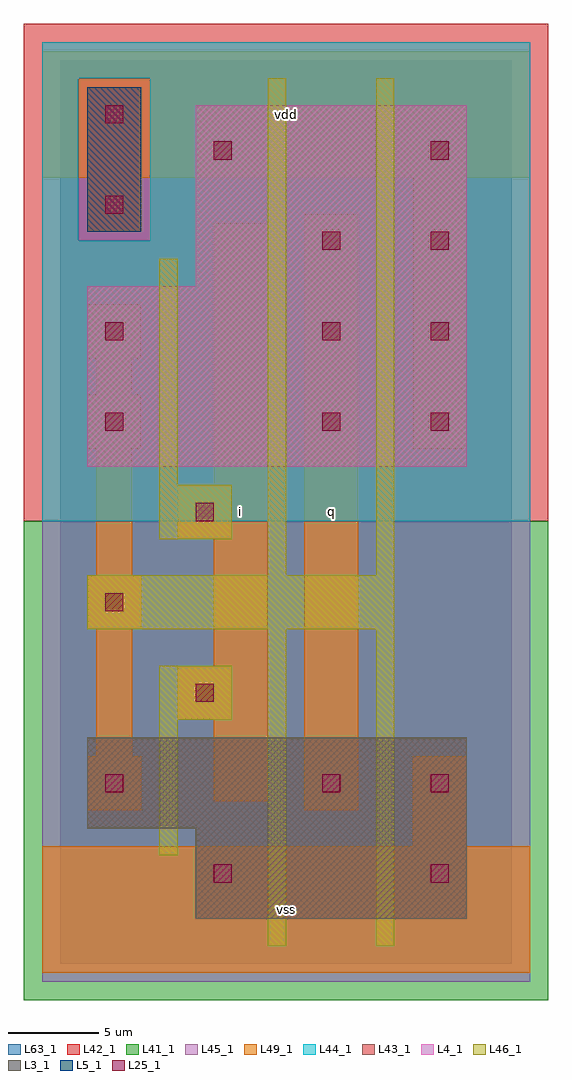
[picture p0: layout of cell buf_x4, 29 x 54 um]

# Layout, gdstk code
import gdstk
lib = gdstk.Library(unit=1e-6, precision=1e-09)
def R(c, l, rs):  # rectangles x0, y0, x1, y1
    for r in rs: c.add(gdstk.rectangle(r[:2], r[2:], *l))
def A(c, l, x, y, w, h, nx, ny, dx, dy):  # array of equal rectangles
    R(c, l, [(x+i*dx, y+j*dy, x+i*dx+w, y+j*dy+h) for i in range(nx) for j in range(ny)])
L3_1 = (3, 1)
L4_1 = (4, 1)
L5_1 = (5, 1)
L25_1 = (25, 1)
L41_1 = (41, 1)
L42_1 = (42, 1)
L43_1 = (43, 1)
L44_1 = (44, 1)
L45_1 = (45, 1)
L46_1 = (46, 1)
L49_1 = (49, 1)
L63_1 = (63, 1)

buf_x4 = lib.new_cell('buf_x4')
R(buf_x4, L3_1, [(7.5,2.5,22.5,7.5), (1.5,7.5,22.5,12.5)])
R(buf_x4, L4_1, [(1.5,27.5,22.5,37.5), (7.5,37.5,22.5,47.5)])
R(buf_x4, L5_1, [(1.5,40.5,4.5,48.5)])
A(buf_x4, L25_1, 2.5, 9.5, 1, 1, 1, 3, 0, 10)
A(buf_x4, L25_1, 14.5, 29.5, 1, 1, 1, 3, 0, 5)
A(buf_x4, L25_1, 20.5, 29.5, 1, 1, 1, 4, 0, 5)
R(buf_x4, L25_1, [(8.5,4.5,9.5,5.5), (20.5,4.5,21.5,5.5), (14.5,9.5,15.5,10.5), (20.5,9.5,21.5,10.5), (7.5,14.5,8.5,15.5), (7.5,24.5,8.5,25.5), (2.5,34.5,3.5,35.5), (2.5,41.5,3.5,42.5), (8.5,44.5,9.5,45.5), (2.5,46.5,3.5,47.5)])
R(buf_x4, L41_1, [(-2,-2,27,24.5)])
R(buf_x4, L42_1, [(-2,24.5,27,52)])
R(buf_x4, L43_1, [(7.5,2.5,22.5,7.5), (1.5,7.5,22.5,12.5), (1.5,27.5,22.5,37.5), (7.5,37.5,22.5,47.5), (1.5,40.5,4.5,48.5)])
R(buf_x4, L44_1, [(-1,24.5,26,40), (-1,40,1,49), (5,40,26,49), (-1,49,26,51)])
R(buf_x4, L45_1, [(-1,-1,26,24.5), (1,40,5,49)])
R(buf_x4, L46_1, [(11.5,1,12.5,18.5), (17.5,1,18.5,18.5), (5.5,6,6.5,13.5), (5.5,13.5,9.5,16.5), (1.5,18.5,18.5,21.5), (11.5,21.5,12.5,49), (17.5,21.5,18.5,49), (5.5,23.5,9.5,26.5), (5.5,26.5,6.5,39)])
A(buf_x4, L49_1, 1.5, 8.5, 3, 3, 1, 3, 0, 10)
R(buf_x4, L49_1, [(-1,-0.5,26,6.5), (19.5,6.5,22.5,11.5), (13.5,8.5,16.5,41.5), (8.5,9,11.5,13.5), (2,11.5,4,18.5), (6.5,13.5,11.5,16.5), (8.5,16.5,11.5,23.5), (2,21.5,4,28.5), (6.5,23.5,11.5,26.5), (8.5,26.5,11.5,41), (19.5,28.5,22.5,43.5), (2,31.5,4,33.5), (1.5,33.5,4.5,36.5), (1.5,40.5,4.5,43.5), (-1,43.5,26,50.5)])
R(buf_x4, L63_1, [(0,0,25,50)])
buf_x4.add(gdstk.Label('i', (10,25), layer=49, texttype=1))
buf_x4.add(gdstk.Label('i', (10,25), layer=49, texttype=1))
buf_x4.add(gdstk.Label('vss', (12.5,3), layer=49, texttype=1))
buf_x4.add(gdstk.Label('vss', (12.5,3), layer=49, texttype=1))
buf_x4.add(gdstk.Label('q', (15,25), layer=49, texttype=1))
buf_x4.add(gdstk.Label('q', (15,25), layer=49, texttype=1))
buf_x4.add(gdstk.Label('vdd', (12.5,47), layer=49, texttype=1))
buf_x4.add(gdstk.Label('vdd', (12.5,47), layer=49, texttype=1))

lib.write_gds('buf_x4.gds')
